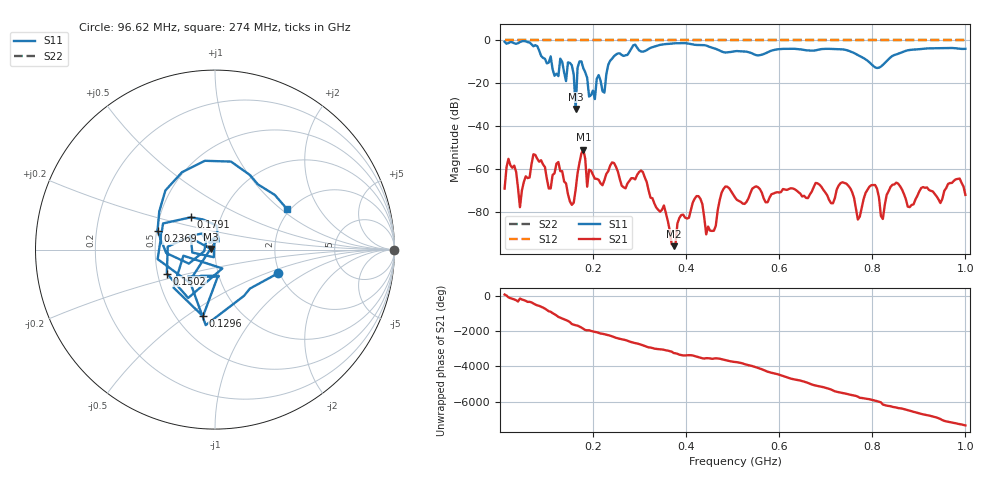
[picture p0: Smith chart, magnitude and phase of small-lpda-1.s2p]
! Anritsu VNA Master:  Model: MS2024B
! SN:  2417009
! /card0/usr/small-lpda-1.s2p
! Existing Calibration Information:
! TYPE:  Current Settings,  Active Cal Settings
! TIME:  09/04/2026 05:00:22 AM,  09/04/2026 04:35:19 AM
! INTERNAL TEMP:  52.8 C,  52.5 C
! # POINTS:  241,  241
! START FREQ:  10.000 MHz,  10.000 MHz
! STOP FREQ:  1.000 GHz,  1.000 GHz
! SOURCE POWER:  Default,  Default
! IFBW:  1 kHz,  1 kHz
! AVG FACTOR:  16 ,  16
! REF PLANE 1:  0 mm,  0 mm
! REF PLANE 2:  0 mm,  0 mm
! CAL TYPE:  1P2P S11,S21,  1P2P S11,S21
! CAL METHOD:  SOLT,  SOLT
! CAL LINE TYPE:  Coax,  Coax
! DUT PORT 1:  N-Conn(M),  N-Conn(M)
! DUT PORT 2:  N-Conn(M),  N-Conn(M)
! CAL STATUS:  OK: Accuracy High,  --
# GHZ S DB R 50.0
! FREQ.GHZ  S11DB  S11A  S21DB  S21A  S12DB  S12A  S22DB  S22A
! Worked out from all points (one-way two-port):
!   241 points, 10 MHz to 1 GHz, reference 50 ohm
!   highest |S21| = -51.00 dB at 179.1 MHz (marker M1); lowest = -96.0 dB at 373 MHz (marker M2)
!   lowest |S11| = -32.0 dB at 162.6 MHz (marker M3), VSWR 1.05, Z = 47.6 + j0.404 ohm
!   |S11| at or under -10 dB: 133.6 MHz to 170.6 MHz (37.02 MHz wide, 24.3 % of centre); 175.3 MHz to 235.6 MHz (60.36 MHz wide, 29.4 % of centre); 792.7 MHz to 829.1 MHz (36.41 MHz wide, 4.49 % of centre)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
!   |S22| runs from 0.0 to 0.0 dB; largest |S21 - S12| = 1
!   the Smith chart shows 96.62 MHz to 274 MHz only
!   S11 on the Smith chart (normalised r, x): 96.62 MHz: 1.95, -0.60; 129.6 MHz: 0.67, -0.58; 150.2 MHz: 0.56, -0.16; 179.1 MHz: 0.72, +0.27; 236.9 MHz: 0.51, +0.12; 274 MHz: 1.92, +1.10
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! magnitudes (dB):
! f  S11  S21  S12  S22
! 10 MHz  -0.6  -69.2  0.0  0.0
! 18.25 MHz  -1.2  -55.2  0.0  0.0
! 43 MHz  -0.7  -77.9  0.0  0.0
! 71.88 MHz  -2.7  -53.1  0.0  0.0
! 96.62 MHz  -8.5  -59.1  0.0  0.0
! 129.6 MHz  -8.5  -61.0  0.0  0.0
! 150.2 MHz  -10.5  -75.1  0.0  0.0
! 162.6 MHz  -32.0  -69.6  0.0  0.0
! 166.8 MHz  -12.7  -61.9  0.0  0.0
! 175 MHz  -9.8  -52.7  0.0  0.0
! 179.1 MHz  -13.0  -51.0  0.0  0.0
! 187.4 MHz  -17.4  -68.3  0.0  0.0
! 224.5 MHz  -24.3  -65.2  0.0  0.0
! 236.9 MHz  -9.4  -58.4  0.0  0.0
! 274 MHz  -6.7  -66.8  0.0  0.0
! 307 MHz  -5.2  -61.4  0.0  0.0
! 340 MHz  -2.3  -79.1  0.0  0.0
! 373 MHz  -1.4  -96.0  0.0  0.0
! 505 MHz  -5.0  -73.3  0.0  0.0
! 670 MHz  -4.7  -70.5  0.0  0.0
! 835 MHz  -8.7  -70.4  0.0  0.0
! 1 GHz  -3.9  -72.1  0.0  0.0
